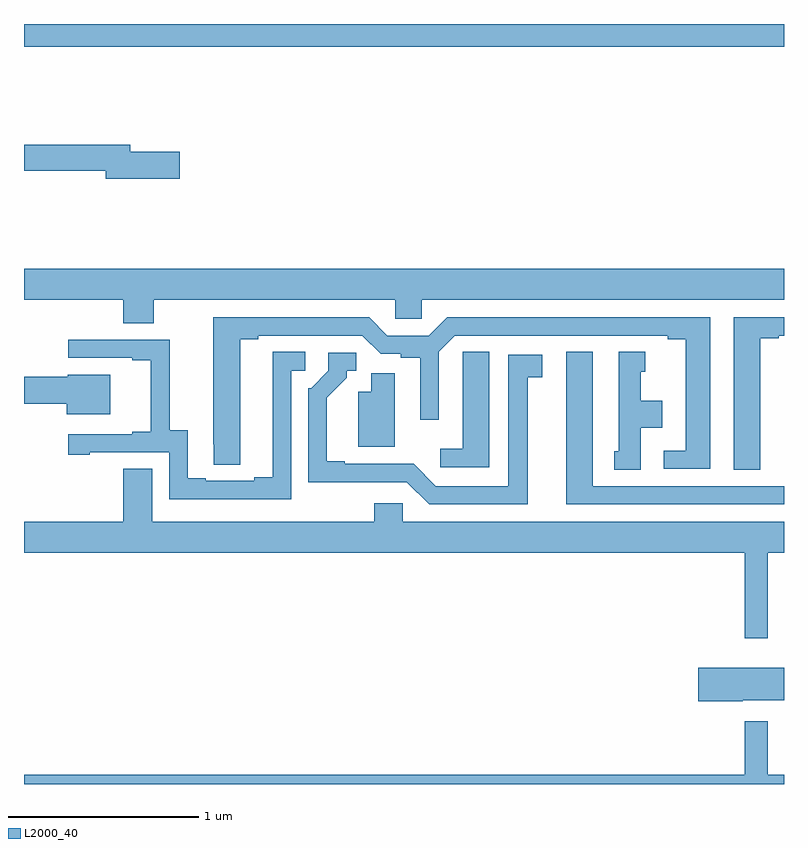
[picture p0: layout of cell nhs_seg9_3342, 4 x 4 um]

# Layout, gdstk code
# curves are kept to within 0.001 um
import gdstk
lib = gdstk.Library(unit=1e-6, precision=1e-09)
def R(c, l, rs):  # rectangles x0, y0, x1, y1
    for r in rs: c.add(gdstk.rectangle(r[:2], r[2:], *l))
def P(c, l, *ps):  # polygons
    for p in ps: c.add(gdstk.Polygon(p, *l))
L2000_40 = (2000, 40)

nhs_seg9_3342 = lib.new_cell('nhs_seg9_3342')
R(nhs_seg9_3342, L2000_40, [(301,1236.38,305,1236.5)])
P(nhs_seg9_3342, L2000_40, [(301.819,1235.828),(301.558,1235.828),(301.558,1235.864),(301,1235.864),(301,1235.728),(301.43,1235.728),(301.43,1235.686),(301.819,1235.686)],
  [(301.683,1235.048),(302.955,1235.048),(302.955,1234.95),(303.093,1234.95),(303.093,1235.048),(305,1235.048),(305,1235.212),(301,1235.212),(301,1235.048),(301.523,1235.048),(301.523,1234.924),(301.683,1234.924)],
  [(304.612,1234.956),(303.227,1234.956),(303.131,1234.86),(302.913,1234.86),(302.817,1234.956),(301.997,1234.956),(301.998,1234.18),(302.137,1234.18),(302.137,1234.84),(302.233,1234.84),(302.233,1234.86),(302.781,1234.86),(302.877,1234.764),(302.982,1234.764),(302.982,1234.744),(303.086,1234.744),(303.086,1234.416),(303.183,1234.416),(303.183,1234.776),(303.267,1234.86),(304.388,1234.86),(304.388,1234.84),(304.484,1234.84),(304.484,1234.254),(304.368,1234.254),(304.368,1234.158),(304.612,1234.158)],
  [(304.876,1234.845),(304.972,1234.845),(304.972,1234.86),(305,1234.86),(305,1234.956),(304.736,1234.956),(304.736,1234.153),(304.876,1234.153)],
  [(302.406,1234.674),(302.479,1234.674),(302.479,1234.775),(302.309,1234.775),(302.309,1234.115),(302.213,1234.115),(302.213,1234.095),(301.957,1234.095),(301.957,1234.11),(301.861,1234.11),(301.861,1234.361),(301.767,1234.361),(301.767,1234.839),(301.233,1234.839),(301.233,1234.743),(301.571,1234.743),(301.571,1234.731),(301.667,1234.731),(301.667,1234.354),(301.571,1234.354),(301.571,1234.341),(301.233,1234.341),(301.233,1234.233),(301.345,1234.233),(301.345,1234.245),(301.764,1234.245),(301.764,1233.999),(302.406,1233.999)],
  [(303.448,1234.775),(303.309,1234.775),(303.309,1234.667),(303.308,1234.667),(303.308,1234.264),(303.192,1234.264),(303.192,1234.167),(303.448,1234.167)],
  [(304.246,1234.376),(304.36,1234.376),(304.36,1234.516),(304.246,1234.516),(304.246,1234.671),(304.27,1234.671),(304.27,1234.774),(304.13,1234.774),(304.13,1234.251),(304.106,1234.251),(304.106,1234.153),(304.246,1234.153)],
  [(305,1234.068),(303.994,1234.068),(303.994,1234.774),(303.854,1234.774),(303.854,1233.972),(305,1233.972)],
  [(303.652,1234.642),(303.727,1234.642),(303.727,1234.758),(303.548,1234.758),(303.548,1234.068),(303.168,1234.068),(303.051,1234.185),(302.689,1234.185),(302.689,1234.198),(302.593,1234.198),(302.593,1234.534),(302.698,1234.639),(302.698,1234.674),(302.748,1234.674),(302.748,1234.77),(302.601,1234.77),(302.601,1234.674),(302.511,1234.584),(302.496,1234.584),(302.496,1234.088),(303.015,1234.089),(303.132,1233.972),(303.652,1233.972)],
  [(302.95,1234.662),(302.828,1234.662),(302.828,1234.564),(302.759,1234.564),(302.759,1234.274),(302.95,1234.274)],
  [(301.453,1234.654),(301.23,1234.654),(301.23,1234.644),(301,1234.644),(301,1234.502),(301.226,1234.502),(301.226,1234.445),(301.453,1234.445)],
  [(304.915,1233.716),(305,1233.716),(305,1233.88),(302.994,1233.88),(302.994,1233.978),(302.843,1233.978),(302.843,1233.88),(301.675,1233.88),(301.675,1234.16),(301.523,1234.16),(301.523,1233.88),(301,1233.88),(301,1233.716),(304.794,1233.716),(304.794,1233.267),(304.915,1233.267)],
  [(304.782,1232.942),(305,1232.942),(305,1233.113),(304.548,1233.113),(304.548,1232.935),(304.782,1232.935)],
  [(305,1232.548),(304.915,1232.548),(304.915,1232.83),(304.794,1232.83),(304.794,1232.548),(301,1232.548),(301,1232.5),(305,1232.5)])

lib.write_gds('nhs_seg9_3342.gds')
